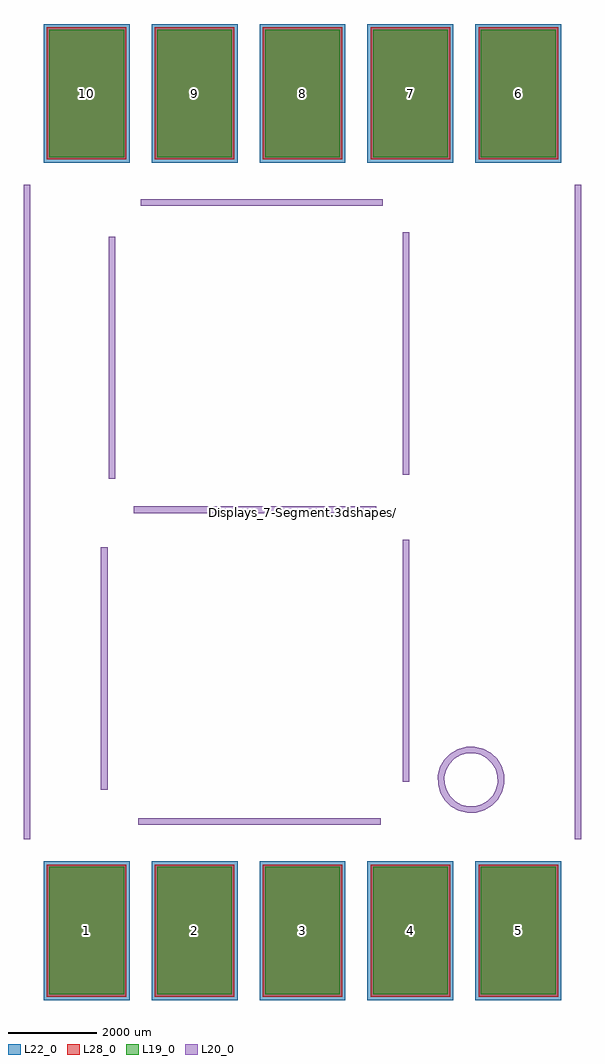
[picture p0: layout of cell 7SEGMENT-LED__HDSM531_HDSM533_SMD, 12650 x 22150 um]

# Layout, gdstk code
import gdstk
lib = gdstk.Library(unit=1e-6, precision=1e-09)
def R(c, l, rs):  # rectangles x0, y0, x1, y1
    for r in rs: c.add(gdstk.rectangle(r[:2], r[2:], *l))
def A(c, l, x, y, w, h, nx, ny, dx, dy):  # array of equal rectangles
    R(c, l, [(x+i*dx, y+j*dy, x+i*dx+w, y+j*dy+h) for i in range(nx) for j in range(ny)])
L19_0 = (19, 0)
L20_0 = (20, 0)
L22_0 = (22, 0)
L28_0 = (28, 0)

c_7segment_led__hdsm531_hd = lib.new_cell('7SEGMENT-LED__HDSM531_HDSM533_SMD')
A(c_7segment_led__hdsm531_hd, L19_0, -5750, -10950, 1700, 2900, 5, 2, 2450, 19000)
A(c_7segment_led__hdsm531_hd, L22_0, -5875, -11075, 1950, 3150, 5, 2, 2450, 19000)
A(c_7segment_led__hdsm531_hd, L28_0, -5800, -11000, 1800, 3000, 5, 2, 2450, 19000)
c_7segment_led__hdsm531_hd.add(gdstk.FlexPath([(-6250,7425),(-6250,-7425)], 149.998, ends="flush", simple_path=True, layer=20, datatype=0))  # L20_0
c_7segment_led__hdsm531_hd.add(gdstk.FlexPath([(6250,-7425),(6250,7425)], 149.998, ends="flush", simple_path=True, layer=20, datatype=0))  # L20_0
c_7segment_led__hdsm531_hd.add(gdstk.FlexPath([(-3725,-7025),(1775,-7025)], 149.998, ends="flush", simple_path=True, layer=20, datatype=0))  # L20_0
c_7segment_led__hdsm531_hd.add(gdstk.FlexPath([(-3825,50),(1675,50)], 149.998, ends="flush", simple_path=True, layer=20, datatype=0))  # L20_0
c_7segment_led__hdsm531_hd.add(gdstk.FlexPath([(-3675,7025),(1825,7025)], 149.998, ends="flush", simple_path=True, layer=20, datatype=0))  # L20_0
c_7segment_led__hdsm531_hd.add(gdstk.FlexPath([(2350,850),(2350,6350)], 149.998, ends="flush", simple_path=True, layer=20, datatype=0))  # L20_0
c_7segment_led__hdsm531_hd.add(gdstk.FlexPath([(-4325,750),(-4325,6250)], 149.998, ends="flush", simple_path=True, layer=20, datatype=0))  # L20_0
c_7segment_led__hdsm531_hd.add(gdstk.FlexPath([(-4500,-6300),(-4500,-800)], 149.998, ends="flush", simple_path=True, layer=20, datatype=0))  # L20_0
c_7segment_led__hdsm531_hd.add(gdstk.FlexPath([(2350,-6125),(2350,-625)], 149.998, ends="flush", simple_path=True, layer=20, datatype=0))  # L20_0
c_7segment_led__hdsm531_hd.add(gdstk.FlexPath([(3925,-6750),(4096.295,-6701.118),(4249.103,-6609.567),(4373.008,-6481.586),(4459.567,-6325.897),(4502.882,-6153.11),(4500,-5975),(4451.118,-5803.705),(4359.567,-5650.897),(4231.586,-5526.992),(4075.897,-5440.433),(3903.11,-5397.118),(3725,-5400),(3553.705,-5448.882),(3400.897,-5540.433),(3276.992,-5668.414),(3190.433,-5824.103),(3147.118,-5996.89),(3150,-6175),(3198.882,-6346.295),(3290.433,-6499.103),(3418.414,-6623.008),(3574.103,-6709.567),(3746.89,-6752.882),(3925,-6750)], 149.998, ends="flush", simple_path=True, layer=20, datatype=0))  # L20_0
c_7segment_led__hdsm531_hd.add(gdstk.Label('Displays_7-Segment.3dshapes/7SEGMENT-LED__HDSM531_HDSM533_SMD.wrl', (0,0), layer=12, texttype=0))
c_7segment_led__hdsm531_hd.add(gdstk.Label('10', (-4900,9500), layer=28, texttype=0))
c_7segment_led__hdsm531_hd.add(gdstk.Label('9', (-2450,9500), layer=28, texttype=0))
c_7segment_led__hdsm531_hd.add(gdstk.Label('8', (0,9500), layer=28, texttype=0))
c_7segment_led__hdsm531_hd.add(gdstk.Label('7', (2450,9500), layer=28, texttype=0))
c_7segment_led__hdsm531_hd.add(gdstk.Label('6', (4900,9500), layer=28, texttype=0))
c_7segment_led__hdsm531_hd.add(gdstk.Label('5', (4900,-9500), layer=28, texttype=0))
c_7segment_led__hdsm531_hd.add(gdstk.Label('4', (2450,-9500), layer=28, texttype=0))
c_7segment_led__hdsm531_hd.add(gdstk.Label('1', (-4900,-9500), layer=28, texttype=0))
c_7segment_led__hdsm531_hd.add(gdstk.Label('2', (-2450,-9500), layer=28, texttype=0))
c_7segment_led__hdsm531_hd.add(gdstk.Label('3', (0,-9500), layer=28, texttype=0))
c_7segment_led__hdsm531_hd.add(gdstk.Label('type', (25,-13950), layer=9, texttype=0))
c_7segment_led__hdsm531_hd.add(gdstk.Label('devicename', (-7700,4525), layer=9, texttype=0))

lib.write_gds('7SEGMENT-LED__HDSM531_HDSM533_SMD.gds')
